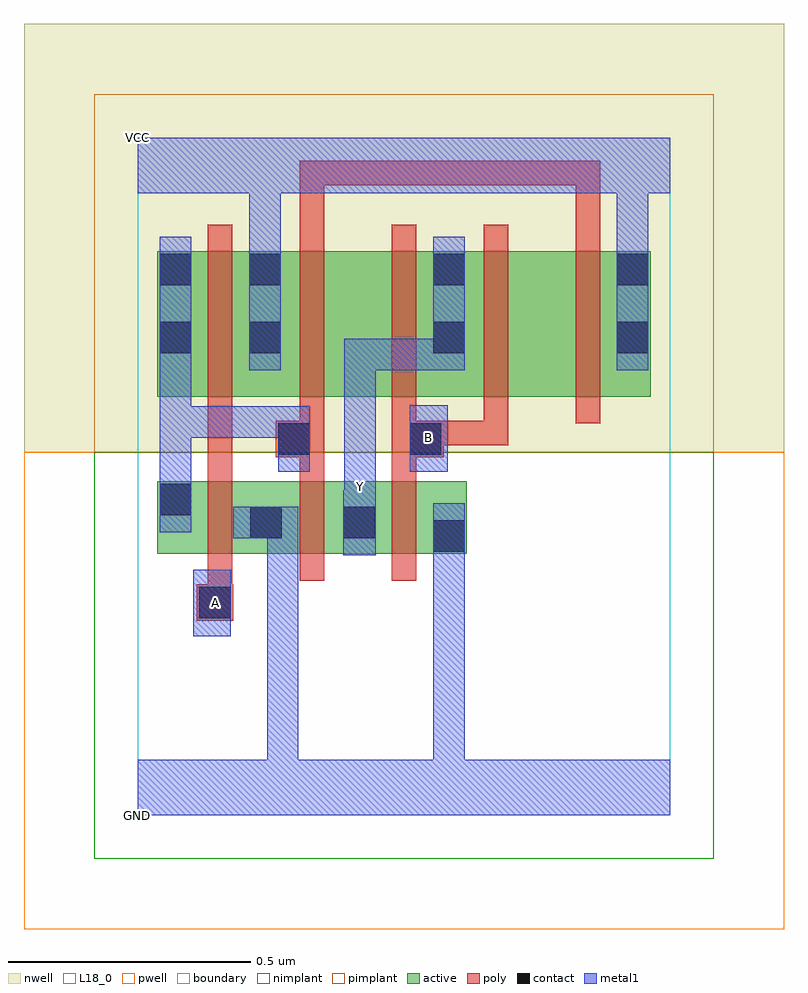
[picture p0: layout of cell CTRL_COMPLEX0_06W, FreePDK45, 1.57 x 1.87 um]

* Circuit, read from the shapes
.subckt CTRL_COMPLEX0_06W A B GND VCC Y
M1 GND A n1 VSUBS nfet w=0.15u l=0.05u
M2 Y n1 GND VSUBS nfet w=0.15u l=0.05u
M3 GND B Y VSUBS nfet w=0.15u l=0.05u
M4 VCC A n1 n2 pfet w=0.3u l=0.05u
M5 n3 n1 VCC n2 pfet w=0.3u l=0.05u
M6 Y B n3 n2 pfet w=0.3u l=0.05u
M7 n4 B Y n2 pfet w=0.3u l=0.05u
M8 VCC n1 n4 n2 pfet w=0.3u l=0.05u
.ends

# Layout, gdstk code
import gdstk
lib = gdstk.Library(unit=1e-6, precision=1e-09)
def R(c, l, rs):  # rectangles x0, y0, x1, y1
    for r in rs: c.add(gdstk.rectangle(r[:2], r[2:], *l))
def A(c, l, x, y, w, h, nx, ny, dx, dy):  # array of equal rectangles
    R(c, l, [(x+i*dx, y+j*dy, x+i*dx+w, y+j*dy+h) for i in range(nx) for j in range(ny)])
active = (1, 0)
pwell = (2, 0)
nwell = (3, 0)
nimplant = (4, 0)
pimplant = (5, 0)
poly = (9, 0)
contact = (10, 0)
metal1 = (11, 0)
L18_0 = (18, 0)
boundary = (235, 0)

ctrl_complex0_06w = lib.new_cell('CTRL_COMPLEX0_06W')
A(ctrl_complex0_06w, active, 0.225, 0.865, 0.075, 0.3, 3, 1, 0.38, 0)
R(ctrl_complex0_06w, active, [(0.04,0.54,0.302,0.69), (0.227,0.54,0.495,0.69), (0.42,0.54,0.68,0.69), (0.605,0.54,0.68,0.69), (0.04,0.545,0.115,0.69), (0.227,0.545,0.302,0.69), (0.42,0.545,0.495,0.642), (0.04,0.865,0.115,1.165), (0.04,0.865,0.3,1.165), (0.225,0.865,0.455,1.165), (0.455,0.865,0.68,1.165), (0.605,0.865,0.835,1.165), (0.835,0.865,1.06,1.165)])
R(ctrl_complex0_06w, pwell, [(-0.235,-0.235,1.335,0.75)])
R(ctrl_complex0_06w, nwell, [(-0.235,0.75,1.335,1.635)])
R(ctrl_complex0_06w, nimplant, [(-0.09,-0.09,1.19,0.75)])
R(ctrl_complex0_06w, pimplant, [(-0.09,0.75,1.19,1.49)])
A(ctrl_complex0_06w, poly, 0.145, 0.485, 0.05, 0.26, 3, 1, 0.19, 0)
A(ctrl_complex0_06w, poly, 0.145, 0.695, 0.05, 0.095, 3, 1, 0.19, 0)
A(ctrl_complex0_06w, poly, 0.335, 0.765, 0.05, 0.095, 3, 1, 0.19, 0)
A(ctrl_complex0_06w, poly, 0.145, 0.81, 0.05, 0.41, 5, 1, 0.19, 0)
R(ctrl_complex0_06w, poly, [(0.122,0.402,0.197,0.477), (0.145,0.427,0.195,0.535), (0.145,0.74,0.195,0.79), (0.145,0.74,0.195,0.86), (0.285,0.74,0.385,0.815), (0.525,0.74,0.632,0.815), (0.582,0.765,0.765,0.815), (0.715,0.765,0.765,0.815), (0.715,0.765,0.765,0.815), (0.715,0.765,0.765,0.815), (0.335,1.17,0.385,1.352), (0.905,1.17,0.955,1.352), (0.335,1.302,0.385,1.352), (0.335,1.302,0.632,1.352), (0.582,1.302,0.632,1.352), (0.582,1.302,0.632,1.352), (0.582,1.302,0.632,1.352), (0.582,1.302,0.765,1.352), (0.715,1.302,0.765,1.352), (0.715,1.302,0.765,1.352), (0.715,1.302,0.765,1.352), (0.715,1.302,0.955,1.352), (0.905,1.302,0.955,1.352), (0.905,1.302,0.955,1.352), (0.905,1.302,0.955,1.352)])
A(ctrl_complex0_06w, contact, 0.23, 0.955, 0.065, 0.065, 3, 2, 0.38, 0.14)
R(ctrl_complex0_06w, contact, [(0.127,0.407,0.192,0.472), (0.61,0.545,0.675,0.61), (0.232,0.572,0.297,0.637), (0.425,0.572,0.49,0.637), (0.045,0.62,0.11,0.685), (0.29,0.745,0.355,0.81), (0.562,0.745,0.627,0.81), (0.045,0.955,0.11,1.02), (0.045,1.095,0.11,1.16)])
A(ctrl_complex0_06w, metal1, 0.23, 0.92, 0.065, 0.275, 3, 1, 0.38, 0)
R(ctrl_complex0_06w, metal1, [(0,0,1.1,0.115), (0.267,0.05,0.332,0.465), (0.61,0.05,0.675,0.427), (0.61,0.362,0.675,0.427), (0.61,0.362,0.675,0.427), (0.61,0.362,0.675,0.427), (0.61,0.362,0.675,0.575), (0.115,0.37,0.192,0.507), (0.267,0.4,0.332,0.465), (0.267,0.4,0.332,0.465), (0.267,0.4,0.332,0.465), (0.267,0.4,0.332,0.465), (0.267,0.4,0.332,0.465), (0.267,0.4,0.332,0.637), (0.61,0.51,0.675,0.645), (0.61,0.51,0.675,0.602), (0.425,0.537,0.492,0.672), (0.61,0.537,0.675,0.602), (0.197,0.572,0.332,0.637), (0.045,0.585,0.11,0.72), (0.427,0.607,0.492,0.672), (0.427,0.607,0.492,0.747), (0.045,0.655,0.11,0.845), (0.427,0.682,0.492,0.985), (0.29,0.71,0.355,0.845), (0.562,0.71,0.64,0.847), (0.045,0.78,0.11,0.845), (0.045,0.78,0.11,0.845), (0.045,0.78,0.11,0.845), (0.045,0.78,0.352,0.845), (0.045,0.78,0.11,0.985), (0.287,0.78,0.352,0.845), (0.287,0.78,0.355,0.845), (0.045,0.92,0.11,1.195), (0.427,0.92,0.492,0.985), (0.427,0.92,0.615,0.985), (0.55,0.92,0.615,0.985), (0.55,0.92,0.675,0.985), (0.23,1.13,0.295,1.35), (0.23,1.13,0.295,1.195), (0.23,1.13,0.295,1.195), (0.99,1.13,1.055,1.35), (0,1.285,1.1,1.4), (0.99,1.285,1.055,1.35), (0.99,1.285,1.055,1.35)])
A(ctrl_complex0_06w, L18_0, 0.23, 0.92, 0.065, 0.275, 3, 1, 0.38, 0)
R(ctrl_complex0_06w, L18_0, [(0,0,1.1,0.115), (0.267,0.05,0.332,0.465), (0.61,0.05,0.675,0.427), (0.61,0.362,0.675,0.427), (0.61,0.362,0.675,0.427), (0.61,0.362,0.675,0.427), (0.61,0.362,0.675,0.575), (0.115,0.37,0.192,0.507), (0.267,0.4,0.332,0.465), (0.267,0.4,0.332,0.465), (0.267,0.4,0.332,0.465), (0.267,0.4,0.332,0.465), (0.267,0.4,0.332,0.465), (0.267,0.4,0.332,0.637), (0.127,0.407,0.192,0.472), (0.61,0.51,0.675,0.602), (0.61,0.51,0.675,0.645), (0.425,0.537,0.492,0.672), (0.61,0.537,0.675,0.602), (0.197,0.572,0.332,0.637), (0.427,0.607,0.492,0.672), (0.427,0.607,0.492,0.747), (0.427,0.647,0.492,0.712), (0.427,0.682,0.492,0.985), (0.562,0.71,0.64,0.847), (0.567,0.747,0.632,0.812), (0.427,0.92,0.492,0.985), (0.427,0.92,0.615,0.985), (0.55,0.92,0.615,0.985), (0.55,0.92,0.675,0.985), (0.23,1.13,0.295,1.195), (0.23,1.13,0.295,1.195), (0.23,1.13,0.295,1.35), (0.99,1.13,1.055,1.35), (0,1.285,1.1,1.4), (0.99,1.285,1.055,1.35), (0.99,1.285,1.055,1.35)])
R(ctrl_complex0_06w, boundary, [(0,0,1.1,1.4)])
ctrl_complex0_06w.add(gdstk.Label('A', (0.16,0.44), layer=11, texttype=0))
ctrl_complex0_06w.add(gdstk.Label('B', (0.6,0.78), layer=11, texttype=0))
ctrl_complex0_06w.add(gdstk.Label('Y', (0.46,0.68), layer=11, texttype=0))
ctrl_complex0_06w.add(gdstk.Label('VCC', (0,1.4), layer=11, texttype=0))
ctrl_complex0_06w.add(gdstk.Label('GND', (0,0), layer=11, texttype=0))

lib.write_gds('CTRL_COMPLEX0_06W.gds')
